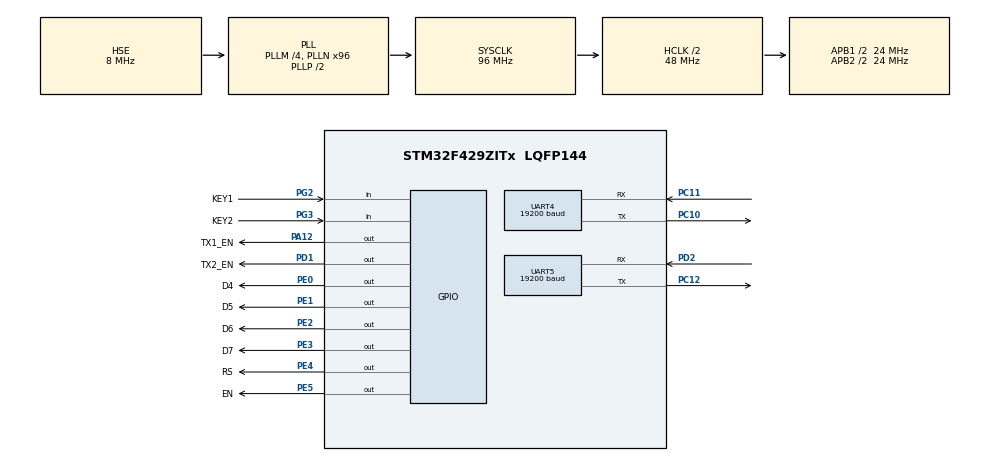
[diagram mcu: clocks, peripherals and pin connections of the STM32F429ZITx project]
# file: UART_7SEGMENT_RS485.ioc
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Mcu.Family=STM32F4
Mcu.Name=STM32F429ZITx
Mcu.Package=LQFP144
NVIC.PriorityGroup=NVIC_PRIORITYGROUP_0
NVIC.TIM4_IRQn=true\:0\:0\:false\:false\:true\:true\:true\:true
NVIC.UART4_IRQn=true\:0\:0\:false\:false\:true\:true\:true\:true
NVIC.UART5_IRQn=true\:0\:0\:false\:false\:true\:true\:true\:true
PA12.GPIO_Label=TX1_EN
PA12.Signal=GPIO_Output
PA13.Mode=Serial_Wire
PA13.Signal=SYS_JTMS-SWDIO
PA14.Mode=Serial_Wire
PA14.Signal=SYS_JTCK-SWCLK
PC10.Mode=Asynchronous
PC10.Signal=UART4_TX
PC11.Mode=Asynchronous
PC11.Signal=UART4_RX
PC12.Mode=Asynchronous
PC12.Signal=UART5_TX
PD1.GPIO_Label=TX2_EN
PD1.Signal=GPIO_Output
PD2.Mode=Asynchronous
PD2.Signal=UART5_RX
PE0.GPIO_Label=D4
PE0.Signal=GPIO_Output
PE1.GPIO_Label=D5
PE1.Signal=GPIO_Output
PE2.GPIO_Label=D6
PE2.Signal=GPIO_Output
PE3.GPIO_Label=D7
PE3.Signal=GPIO_Output
PE4.GPIO_Label=RS
PE4.Signal=GPIO_Output
PE5.GPIO_Label=EN
PE5.Signal=GPIO_Output
PG2.GPIO_Label=KEY1
PG2.GPIO_PuPd=GPIO_PULLUP
PG2.Signal=GPIO_Input
PG3.GPIO_Label=KEY2
PG3.GPIO_PuPd=GPIO_PULLUP
PG3.Signal=GPIO_Input
PH0/OSC_IN.Mode=HSE-External-Oscillator
PH0/OSC_IN.Signal=RCC_OSC_IN
PH1/OSC_OUT.Mode=HSE-External-Oscillator
PH1/OSC_OUT.Signal=RCC_OSC_OUT
ProjectManager.HeapSize=0x200
ProjectManager.StackSize=0x400
ProjectManager.TargetToolchain=Makefile
RCC.48MHZClocksFreq_Value=64000000
RCC.AHBCLKDivider=RCC_SYSCLK_DIV2
RCC.AHBFreq_Value=48000000
RCC.APB1CLKDivider=RCC_HCLK_DIV2
RCC.APB1Freq_Value=24000000
RCC.APB1TimFreq_Value=48000000
RCC.APB2CLKDivider=RCC_HCLK_DIV2
RCC.APB2Freq_Value=24000000
RCC.APB2TimFreq_Value=48000000
RCC.CortexFreq_Value=48000000
RCC.HCLKFreq_Value=48000000
RCC.HSE_VALUE=8000000
RCC.HSI_VALUE=16000000
RCC.LSE_VALUE=32768
RCC.PLLM=4
RCC.PLLN=96
RCC.PLLQ=3
RCC.PLLSourceVirtual=RCC_PLLSOURCE_HSE
RCC.RCC_TIM_PRescaler_Selection=RCC_TIMPRES_DESACTIVATED
RCC.SYSCLKFreq_VALUE=96000000
RCC.SYSCLKSource=RCC_SYSCLKSOURCE_PLLCLK
RCC.VCOOutputFreq_Value=192000000
TIM4.ClockDivision=TIM_CLOCKDIVISION_DIV4
TIM4.Period=999
TIM4.Prescaler=199
UART4.BaudRate=19200
UART4.VirtualMode=Asynchronous
UART5.BaudRate=19200
UART5.VirtualMode=Asynchronous
VP_TIM4_VS_ClockSourceINT.Mode=Internal
board=STM32F429I-DISC1

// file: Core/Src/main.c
/* USER CODE BEGIN Header */
/**
 ******************************************************************************
 * @file           : main.c
 * @brief          : Main program body
 ******************************************************************************
 * @attention
 *
 * Copyright (c) 2022 STMicroelectronics.
 * All rights reserved.
 *
 * This software is licensed under terms that can be found in the LICENSE file
 * in the root directory of this software component.
 * If no LICENSE file comes with this software, it is provided AS-IS.
 *
 ******************************************************************************
 */
/* USER CODE END Header */
#include "main.h"
#include "tim.h"
#include "usart.h"
#include "gpio.h"

/* USER CODE BEGIN Includes */
#include "lcd16x2.h"
#include "buffer.h"
/* USER CODE END Includes */

/* USER CODE BEGIN PV */
#define RAND __TIME__
uint8_t f_lcd_item =0;
uint8_t f_TX_ID=0;
uint8_t f_busy;
uint8_t f_querry=0;
uint8_t f_read_msg;
uint8_t tx_timeout = 0;
unsigned char f_timer_TX = 0;
unsigned char f_seg_timer_500ms;
unsigned char f_timer_10ms = 0;
unsigned char f_timer_update_digit = 0;
unsigned char f_waiting_rx = 0;
unsigned char f_timer_30ms = 0;
unsigned char f_timer_50ms = 0;
unsigned char n_querry = 0;
unsigned char flag_digit_1 = 1;

unsigned char tx2_buffer[10] = {"123456789"};
unsigned char tx1_buffer[6] = {"abcdef"};
unsigned char d_timer_30ms;
unsigned char d_timer_50ms;
unsigned char d_timer_update_digit;
unsigned char d_timer_TX1;
unsigned char TX1_delay_val = 250;
unsigned char d_timer_TX2;
unsigned char TX2_delay_val = 250;
unsigned char key1_data, key2_data;
unsigned char state, old_state, event, error;
unsigned char num_slave=0;
uint8_t key1_ID,key2_ID;

unsigned char digit1, digit2;
uint8_t old_num_slave, old_digit1,old_digit2;
// flag for LCD
unsigned char is_EN = 0;

unsigned char digit1_update = 0;
unsigned char digit2_update = 0;
unsigned char cmd, data;
unsigned char lcd_process = 4;

char digit_table[17] = {"0123456789abcdef-"};

uint8_t rx_temp;
uint8_t x=1;
circular_buffer digit1_buf;
circular_buffer digit2_buf;
circular_buffer rx_buffer;
circular_buffer event_buffer;
uint8_t ID;
uint8_t ID_list[10];
uint8_t TX_msg[6];
uint8_t RX_msg[4];
uint8_t *pRX_msg;
uint8_t *pTX_msg;
uint8_t temp;

/* USER CODE END PV */

void SystemClock_Config(void);
/* USER CODE BEGIN PFP */
void RS485_RX_Task(void);
void RS485_TX_Task(void);
void task_timer(void);
void counting_task(void);
void uart_TX2_task(void);
void uart_TX1_task(void);
void uart_RX1_task(void);
void uart_RX2_task(void);
void segment_display_task(void);

void key_read_task(void);
void main_task(void);

void seven_segment_driver(char input, char select_digit);
void TX1_delay_update(void);
void TX2_delay_update(void);
void m_send_to_lcd(char data);
void Set_Transmitter_Port1(void);
void Set_Transmitter_Port2(void);
void Set_Receiver_Port1(void);
void Set_Receiver_Port2(void);

void RS485_Send_Message(uint8_t addr, uint8_t func_code, uint8_t data);
void RS485_Read_Message(void);
void check_slave(void);
void update_lcd(uint8_t* itm);

void display_state_slave(uint8_t slave, uint8_t state);
/*
unsigned char m_send_to_lcd(char data);
unsigned char m_lcd_cmd(char cmd);
unsigned char m_lcd_data(char cmd);
unsigned char m_lcd_set_pos(int row, int col);
*/
/* USER CODE END PFP */

int main(void)
{

	/* MCU Configuration--------------------------------------------------------*/

	/* Reset of all peripherals, Initializes the Flash interface and the Systick. */
	HAL_Init();

	/* Configure the system clock */
	SystemClock_Config();

	/* Initialize all configured peripherals */
	MX_GPIO_Init();
	MX_TIM4_Init();
	MX_UART4_Init();
	MX_UART5_Init();
	/* USER CODE BEGIN 2 */

	HAL_TIM_Base_Start_IT(&htim4);

	HAL_GPIO_WritePin(TX1_EN_GPIO_Port, TX1_EN_Pin, 0); // Enable Receiver 1
	// HAL_GPIO_WritePin(TX2_EN_GPIO_Port, TX2_EN_Pin, 0);	// Enable Receiver 2

	HAL_UART_Receive_IT(&huart4, &rx_temp, 1);
	// HAL_UART_Receive_IT(&huart5, &rx2_buffer.data[rx2_buffer.head], 1);

	digit1 = 16;
	digit2 = 16;
	num_slave=0;
	ID=0;
	ID_list[0]= 0xFF;
	ID_list[SLAVE1]= 0;
	ID_list[SLAVE2]= 0;
	//ID_list[2]= 0x12;
	state = STATE_IDLE;
	/*
	if (num_slave>0){
		state = STATE_OPERATION;
	}else{
		state=STATE_ASSIGNED_ADDR;
	}*/
	HAL_Delay(1000);
	lcd_init();
	lcd_clear();
	lcd_set_pos(0, 0);
	lcd_write_string("NUM SLAVE: ");
	lcd_set_pos(0, 0xC);
	lcd_data(digit_table[num_slave]);
	lcd_set_pos(1, 0);
	lcd_write_string("S2-00:");
	lcd_set_pos(1, 0x6);
	lcd_data(digit_table[digit2]);
	lcd_set_pos(1, 0x9);
	lcd_write_string("S1-00:");
	lcd_set_pos(1, 0xF);
	lcd_data(digit_table[digit1]);
	old_digit1 = digit1;
	old_digit2=old_digit2;
	old_num_slave= num_slave;
	/* USER CODE END 2 */

	/* Infinite loop */
	while (1)
	{

		/* USER CODE BEGIN 3 */

		task_timer();
		/// segment_display_task();

		key_read_task();
		RS485_RX_Task();
		main_task();
	}
	/* USER CODE END 3 */
}

void SystemClock_Config(void)
{
	RCC_OscInitTypeDef RCC_OscInitStruct = {0};
	RCC_ClkInitTypeDef RCC_ClkInitStruct = {0};

	/** Configure the main internal regulator output voltage
	 */
	__HAL_RCC_PWR_CLK_ENABLE();
	__HAL_PWR_VOLTAGESCALING_CONFIG(PWR_REGULATOR_VOLTAGE_SCALE3);

	/** Initializes the RCC Oscillators according to the specified parameters
	 * in the RCC_OscInitTypeDef structure.
	 */
	RCC_OscInitStruct.OscillatorType = RCC_OSCILLATORTYPE_HSE;
	RCC_OscInitStruct.HSEState = RCC_HSE_ON;
	RCC_OscInitStruct.PLL.PLLState = RCC_PLL_ON;
	RCC_OscInitStruct.PLL.PLLSource = RCC_PLLSOURCE_HSE;
	RCC_OscInitStruct.PLL.PLLM = 4;
	RCC_OscInitStruct.PLL.PLLN = 96;
	RCC_OscInitStruct.PLL.PLLP = RCC_PLLP_DIV2;
	RCC_OscInitStruct.PLL.PLLQ = 3;
	if (HAL_RCC_OscConfig(&RCC_OscInitStruct) != HAL_OK)
	{
		Error_Handler();
	}

	/** Initializes the CPU, AHB and APB buses clocks
	 */
	RCC_ClkInitStruct.ClockType = RCC_CLOCKTYPE_HCLK | RCC_CLOCKTYPE_SYSCLK | RCC_CLOCKTYPE_PCLK1 | RCC_CLOCKTYPE_PCLK2;
	RCC_ClkInitStruct.SYSCLKSource = RCC_SYSCLKSOURCE_PLLCLK;
	RCC_ClkInitStruct.AHBCLKDivider = RCC_SYSCLK_DIV2;
	RCC_ClkInitStruct.APB1CLKDivider = RCC_HCLK_DIV2;
	RCC_ClkInitStruct.APB2CLKDivider = RCC_HCLK_DIV2;

	if (HAL_RCC_ClockConfig(&RCC_ClkInitStruct, FLASH_LATENCY_1) != HAL_OK)
	{
		Error_Handler();
	}
}

/* USER CODE BEGIN 4 */

void update_lcd(uint8_t* itm){

	//if (lcd_process<4)return;
	if (itm == &digit2){
		lcd_set_pos(1,0x6);
		lcd_data(digit_table[digit2]);

	}else if(itm ==&digit1){
		lcd_set_pos(1,0xF);
		lcd_data(digit_table[digit1]);
	}else if(itm ==&num_slave){
		lcd_set_pos(0,0xC);
		lcd_data(digit_table[num_slave]);

	}

}

void task_timer(void)
{
	if (!f_timer_10ms)
		return;		  // checking if 10 ms timer interrupt is set (10 ms), if set then do timer task
	f_timer_10ms = 0; // clear the flag to wait next interupt

	d_timer_30ms++; // count timer for 30 ms interval

	if (d_timer_30ms == 3) // checking if the count reached 30 ms
	{
		d_timer_30ms = 0; // assign "0" to repeat counting
		f_timer_30ms = 1; // Set flag to inform 30 ms timer is done counting
	}

	d_timer_update_digit++;
	if (d_timer_update_digit > 125)
	{

		d_timer_update_digit = 0;
		f_timer_update_digit = 1;
	}
	d_timer_50ms++;			// for querry
	if (d_timer_50ms == 5)
	{

		d_timer_50ms = 0;
		f_querry=1;
	}

}

void key_read_task(void)
{
	if (!f_timer_30ms) return;		  // Checking if 30 ms counting is done
	f_timer_30ms = 0; // clear the flag to wait next counting

	uint8_t key_pindata = (uint8_t)(GPIOG->IDR & (KEY1_Pin | KEY2_Pin));

	key1_data = key1_data << 1; // Preparing to read KEY1 Input
	key1_data &= 0b00001110;
	key1_data |= ((key_pindata >> 2) & 0x1); // Read KEY1 Input

	key2_data = key2_data << 1; // Preparing to read KEY2 Input
	key2_data &= 0b00001110;
	key2_data |= (key_pindata >> 3); // Read KEY2 Input

	if (key1_data == KEY_PRESSED) // Checking if KEY1 is pressed
	{
		f_querry =0;
		state = STATE_IDLE;
		buffer_push(&event_buffer, EVENT_KEY1_PRESSED); // Store the event in buffer
	}else if(key1_data == KEY_RELEASED){
		buffer_push(&event_buffer, EVENT_KEY1_RELEASED);
	}

	if (key2_data == KEY_PRESSED) // Checking if KEY2 is pressed
	{

		f_querry =0;
		state = STATE_IDLE;
		buffer_push(&event_buffer, EVENT_KEY2_PRESSED); // Store the event in buffer
	}else if(key2_data == KEY_RELEASED){
		buffer_push(&event_buffer, EVENT_KEY2_RELEASED);
	}

}

void main_task(void)
{

	if (event_buffer.head != event_buffer.tail)
	{

		event = buffer_pop(&event_buffer); // if there is event then get the event from buffer

	}

	switch (state)
	{
	case STATE_IDLE:

		switch (event)
		{
		case EVENT_KEY1_PRESSED:

			f_TX_ID = SLAVE1;
			f_timer_update_digit=1;
			//d_timer_update_digit = 250;
			event = EVENT_RESET;
			state = STATE_TX;
			f_querry =0;
			//state = STATE_IDLE;
			break;

		case EVENT_KEY2_PRESSED:

			f_TX_ID = SLAVE2;
			f_timer_update_digit=1;
			//d_timer_update_digit = 250;
			event = EVENT_RESET;
			state = STATE_TX;
			f_querry =0;
			//state = STATE_IDLE;
			break;

		default:
			if (!f_querry) break;
			f_querry =0;

			if(ID>0){

				RS485_Send_Message(ID_list[ID],FUNC_READ, '0');
			}else{
				//if (num_slave<2){
					RS485_Send_Message(ID_list[ID],FUNC_FIND_SLAVE,((num_slave+1)+'0'));
				//}
			}

			ID = (ID+1)== 3 ?0:ID+1;

			state = STATE_WAITING_RX;
			old_state = STATE_IDLE;
			break;

		}
		break;

	case STATE_TX:
		switch (event)
		{
		case EVENT_KEY1_RELEASED:

			f_timer_update_digit =1;
			state = STATE_IDLE;

			break;

		case EVENT_KEY2_RELEASED:

			f_timer_update_digit =1;
			state = STATE_IDLE;

			break;

		default:
			/// timer tx by key
			if (!f_timer_update_digit) break;
			f_timer_update_digit =0;

			if(f_TX_ID == SLAVE1){
				digit1=(digit1+1)>9? 0 :digit1+1;
				update_lcd(&digit1);
				old_digit1 = digit1;
				//buffer_push(&digit1_buf,digit1);
				RS485_Send_Message(ID_list[SLAVE1],FUNC_WRITE,(digit1+'0'));
			}
			else if (f_TX_ID == SLAVE2)
			{
				digit2=(digit2+1)>15? 10 :digit2+1;
				update_lcd(&digit2);
				old_digit2 = digit2;
				//buffer_push(&digit1_buf,digit1);

				RS485_Send_Message(ID_list[SLAVE2],FUNC_WRITE,(digit2+'0'));
			}
			event = EVENT_RESET;
			state = STATE_WAITING_RX;
			old_state = STATE_TX;
			break;
		}
		break;
	case STATE_WAITING_RX:

		if (event==EVENT_RX_COMPLETE){
			RS485_Read_Message();

			if (old_state==STATE_TX){
				d_timer_update_digit=0;
				f_timer_update_digit =0;
			}
			state=old_state;
			event = EVENT_RESET;

		}else{

			if (!f_querry) break;
			f_querry =0;

			RS485_Send_Message(TX_msg[1],TX_msg[2],TX_msg[3]);
			tx_timeout++;

			if (tx_timeout==10){
				state = old_state;
				event = EVENT_RESET;
				tx_timeout=0;
				check_slave();
				break;

			}

		}

		break;

	}

}

void check_slave(void){

	if ((TX_msg[1]==ID_list[0])||(TX_msg[1]==0)||(TX_msg[2]==FUNC_WRITE))return;

	if (TX_msg[1]==ID_list[SLAVE1]){
		display_state_slave(SLAVE1, DISCONNECTED);
		ID_list[SLAVE1] = 0;
		digit1 = 16;
	}else if (TX_msg[1]== ID_list[SLAVE2]){
		display_state_slave(SLAVE2, DISCONNECTED);
		ID_list[SLAVE2]	= 0;
		digit2 =16;
	}

	num_slave--;
	update_lcd(&num_slave);

}

void RS485_RX_Task(void)
{

	if (rx_buffer.tail==rx_buffer.head) return;

	if (rx_buffer.data[rx_buffer.tail]==SOF)
	{
		f_read_msg =1;
		pRX_msg = RX_msg;

	}else if(rx_buffer.data[rx_buffer.tail]==EOF)
	{
		f_read_msg =0;
    	buffer_push(&event_buffer,EVENT_RX_COMPLETE);
		//RS485_Read_Message();  //event msg ready
	}else{

		if (f_read_msg){
			*pRX_msg++=rx_buffer.data[rx_buffer.tail];
		}
	}
	rx_buffer.tail = (rx_buffer.tail+1)%BUFFER_SIZE;

}

void RS485_Read_Message(void)
{
	//digit2 = 10;
	//uint8_t * digit;
	uint8_t checksum = 0;

	checksum = checksum^RX_msg[0]^RX_msg[1]^RX_msg[2];
	if (!(checksum== RX_msg[3]))
	{
		return;

	}

	if ((RX_msg[0] == ID_list[SLAVE1]))
	{
		if (RX_msg[1] == FUNC_READ)
		{
			digit1 = (RX_msg[2] - '0');

			if (digit1!= old_digit1){
				update_lcd(&digit1);
				old_digit1 = digit1;
			}

		}
		else if (RX_msg[1] == FUNC_WRITE)
		{

		}

	}else if ((RX_msg[0] == ID_list[SLAVE2]))
	{
		if (RX_msg[1] == FUNC_READ)
		{
			digit2 = (RX_msg[2] - '0');

			if(digit2!= old_digit2)
			{
				update_lcd(&digit2);
				old_digit2 =digit2;
			}

		}
		else if (RX_msg[1] == FUNC_WRITE)
		{

	}
	}else if(RX_msg[0]==ID_list[0]){

		if (RX_msg[1]== FUNC_FIND_SLAVE){

			if(ID_list[SLAVE1]==0){
				ID_list[SLAVE1]=RX_msg[2];
				display_state_slave(SLAVE1, CONNECTED);
			}else if (ID_list[SLAVE2]==0){
				ID_list[SLAVE2]= RX_msg[2];
				display_state_slave(SLAVE2, CONNECTED);
				}
			else{
				return;
			}
			num_slave++;
			update_lcd(&num_slave);

		}

	}
	else{
		return;
	}

}

void display_state_slave(uint8_t slave, uint8_t state){

	lcd_clear();

	if (state == DISCONNECTED)
	{
			lcd_set_pos(0, 0x1);
			lcd_write_string("DISCONNECTED");
	}
	else{
			lcd_set_pos(0, 0x3);
			lcd_write_string("CONNECTED");
	}

	if (slave ==SLAVE1)
	{
		lcd_set_pos(1, 0x2);
		lcd_write_string("S1 ADDR:");

		lcd_set_pos(1, 0xC);
		temp = ID_list[SLAVE1]/16;
		lcd_data(digit_table[temp]);
		lcd_set_pos(1, 0xD);
		temp = ID_list[SLAVE1]%16;
		lcd_data(digit_table[temp]);
	}
	else if(slave == SLAVE2){
		lcd_set_pos(1, 0x2);
		lcd_write_string("S2 ADDR:");

		lcd_set_pos(1, 0xC);
		temp = ID_list[SLAVE2]/16;
		lcd_data(digit_table[temp]);
		lcd_set_pos(1, 0xD);
		temp = ID_list[SLAVE2]%16;
		lcd_data(digit_table[temp]);
	}

	HAL_Delay(1000);

	lcd_clear();
	lcd_set_pos(0, 0);
	lcd_write_string("NUM SLAVE: ");
	lcd_set_pos(0, 0xC);
	lcd_data(digit_table[num_slave]);
	lcd_set_pos(1, 0);
	lcd_write_string("S2-");

	lcd_set_pos(1, 0x3);
	temp = ID_list[SLAVE2]/16;
	lcd_data(digit_table[temp]);
	lcd_set_pos(1, 0x4);
	temp = ID_list[SLAVE2]%16;
	lcd_data(digit_table[temp]);
	lcd_set_pos(1, 0x5);
	lcd_data(':');
	lcd_set_pos(1, 0x6);
	lcd_data(digit_table[digit2]);

	lcd_set_pos(1, 0x9);
	lcd_write_string("S1-");

	lcd_set_pos(1, 0xC);
	temp = ID_list[SLAVE1]/16;
	lcd_data(digit_table[temp]);
	lcd_set_pos(1, 0xD);
	temp = ID_list[SLAVE1]%16;
	lcd_data(digit_table[temp]);
	lcd_set_pos(1, 0xE);
	lcd_data(':');
	lcd_set_pos(1, 0xF);
	lcd_data(digit_table[digit1]);
}

void RS485_Send_Message(uint8_t addr, uint8_t func_code, uint8_t data)
{

	TX_msg[0] = SOF;
	TX_msg[1] = addr;
	TX_msg[2] = func_code;
	TX_msg[3] = data;
	TX_msg[4] = (((0x00^TX_msg[1])^TX_msg[2])^TX_msg[3]);    // checksum
	TX_msg[5] = EOF;

	// uint8_t *pbuf_tx = (uint8_t *)&msg;
	HAL_GPIO_WritePin(TX1_EN_GPIO_Port, TX1_EN_Pin, 1); /// Enable Transmitter Mode
	HAL_UART_Transmit(&huart4, TX_msg, sizeof(TX_msg), 10);
	HAL_GPIO_WritePin(TX1_EN_GPIO_Port, TX1_EN_Pin, 0); /// Enable Receiver Mode
}

void HAL_TIM_PeriodElapsedCallback(TIM_HandleTypeDef *htim)
{
	// Check which version of the timer triggered this callback and toggle LED

	if (htim == &htim4)
	{
		f_timer_10ms = 1;
	}
}

void HAL_UART_RxCpltCallback(UART_HandleTypeDef *huart)
{
	// HAL_GPIO_TogglePin(LD3_GPIO_Port, LD3_Pin);

	if (huart == &huart4)
	{
		buffer_push(&rx_buffer, rx_temp);
		HAL_UART_Receive_IT(&huart4, &rx_temp, 1);
	}
}
/* USER CODE END 4 */

void Error_Handler(void)
{
	__disable_irq();
	while (1)
	{
	}
}
